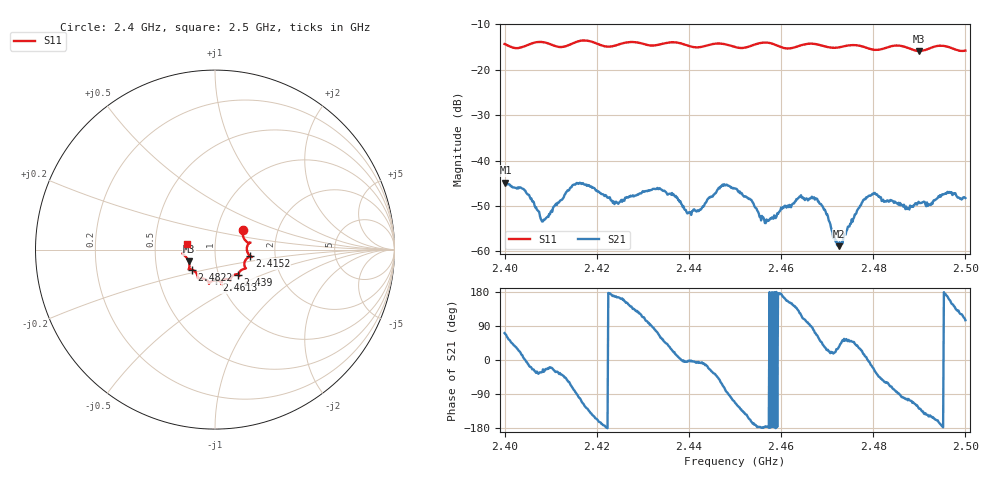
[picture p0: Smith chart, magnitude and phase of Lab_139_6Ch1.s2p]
# Hz S RI R 50
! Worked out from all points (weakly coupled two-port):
!   601 points, 2.4 GHz to 2.5 GHz, reference 50 ohm
!   highest |S21| = -44.83 dB at 2.4002 GHz (marker M1); lowest = -58.8 dB at 2.4725 GHz (marker M2)
!   lowest |S11| = -15.9 dB at 2.49 GHz (marker M3), VSWR 1.38, Z = 36.9 - j4.86 ohm
!   |S11| at or under -10 dB: start of sweep to end of sweep
!   S12 and S22 are empty: the file has one direction only
!   S11 on the Smith chart (normalised r, x): 2.4 GHz: 1.33, +0.31; 2.4152 GHz: 1.48, -0.11; 2.439 GHz: 1.24, -0.36; 2.4613 GHz: 0.96, -0.34; 2.4822 GHz: 0.76, -0.17; 2.5 GHz: 0.72, +0.05
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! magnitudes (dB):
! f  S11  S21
! 2.4 GHz  -14.4  -45.0
! 2.4002 GHz  -14.4  -44.8
! 2.4042 GHz  -14.9  -46.3
! 2.4083 GHz  -13.9  -53.4
! 2.4152 GHz  -14.1  -45.3
! 2.4167 GHz  -13.6  -45.2
! 2.4243 GHz  -14.6  -49.2
! 2.4333 GHz  -14.5  -46.3
! 2.439 GHz  -14.5  -50.7
! 2.4422 GHz  -15.1  -51.1
! 2.4473 GHz  -14.3  -45.3
! 2.45 GHz  -15.0  -46.1
! 2.4568 GHz  -14.1  -53.0
! 2.4613 GHz  -15.4  -50.0
! 2.4667 GHz  -14.3  -48.0
! 2.4692 GHz  -14.8  -50.4
! 2.4725 GHz  -15.1  -58.8
! 2.4782 GHz  -15.1  -48.4
! 2.4822 GHz  -15.4  -48.6
! 2.4833 GHz  -15.0  -49.1
! 2.49 GHz  -15.9  -49.3
! 2.5 GHz  -15.8  -48.3
